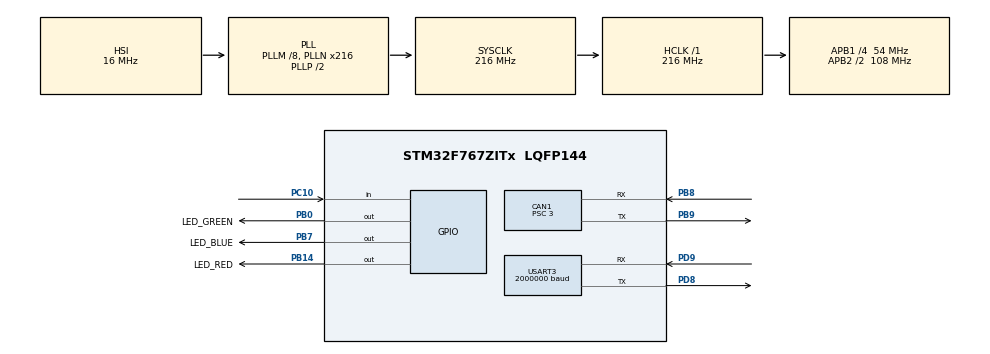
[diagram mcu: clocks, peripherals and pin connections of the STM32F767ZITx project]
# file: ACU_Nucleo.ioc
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CAN1.AWUM=ENABLE
CAN1.BS1=CAN_BS1_15TQ
CAN1.BS2=CAN_BS2_2TQ
CAN1.CalculateTimeQuantum=55.55555555555556
CAN1.NART=ENABLE
CAN1.Prescaler=3
Mcu.Family=STM32F7
Mcu.Name=STM32F767ZITx
Mcu.Package=LQFP144
NVIC.CAN1_RX0_IRQn=true\:0\:0\:false\:true\:true\:3\:true\:true
NVIC.CAN1_RX1_IRQn=true\:0\:0\:false\:true\:true\:2\:true\:true
NVIC.CAN1_SCE_IRQn=true\:0\:0\:false\:true\:true\:1\:true\:true
NVIC.CAN1_TX_IRQn=true\:0\:0\:false\:true\:true\:4\:true\:true
NVIC.PriorityGroup=NVIC_PRIORITYGROUP_4
NVIC.TIM2_IRQn=true\:0\:0\:false\:true\:true\:5\:true\:true
NVIC.USART3_IRQn=true\:0\:0\:false\:true\:true\:6\:true\:true
PB0.GPIO_Label=LED_GREEN
PB0.Signal=GPIO_Output
PB14.GPIO_Label=LED_RED
PB14.Signal=GPIO_Output
PB7.GPIO_Label=LED_BLUE
PB7.Signal=GPIO_Output
PB8.Mode=Master
PB8.Signal=CAN1_RX
PB9.Mode=Master
PB9.Signal=CAN1_TX
PC10.Signal=GPIO_Input
PD8.Mode=Asynchronous
PD8.Signal=USART3_TX
PD9.Mode=Asynchronous
PD9.Signal=USART3_RX
ProjectManager.HeapSize=0x200
ProjectManager.StackSize=0x400
ProjectManager.TargetToolchain=STM32CubeIDE
RCC.AHBFreq_Value=216000000
RCC.APB1CLKDivider=RCC_HCLK_DIV4
RCC.APB1Freq_Value=54000000
RCC.APB1TimFreq_Value=108000000
RCC.APB2CLKDivider=RCC_HCLK_DIV2
RCC.APB2Freq_Value=108000000
RCC.APB2TimFreq_Value=216000000
RCC.CortexFreq_Value=216000000
RCC.HCLKFreq_Value=216000000
RCC.HSE_VALUE=25000000
RCC.HSI_VALUE=16000000
RCC.LSE_VALUE=32768
RCC.PLLM=8
RCC.PLLN=216
RCC.SYSCLKFreq_VALUE=216000000
RCC.SYSCLKSource=RCC_SYSCLKSOURCE_PLLCLK
RCC.USBFreq_Value=216000000
RCC.VCOOutputFreq_Value=432000000
TIM2.Period=1000
TIM2.Prescaler=108
USART3.BaudRate=2000000
USART3.VirtualMode-Asynchronous=VM_ASYNC
VP_TIM2_VS_ClockSourceINT.Mode=Internal
board=custom

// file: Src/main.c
/* USER CODE BEGIN Header */
/**
  ******************************************************************************
  * @file           : main.c
  * @brief          : Main program body
  ******************************************************************************
  * @attention
  *
  * <h2><center>&copy; Copyright (c) 2019 STMicroelectronics.
  * All rights reserved.</center></h2>
  *
  * This software component is licensed by ST under BSD 3-Clause license,
  * the "License"; You may not use this file except in compliance with the
  * License. You may obtain a copy of the License at:
  *                        opensource.org/licenses/BSD-3-Clause
  *
  ******************************************************************************
  */
/* USER CODE END Header */

#include "main.h"

/* USER CODE BEGIN Includes */
#include "id.h"
#include "state.h"
#include "can.h"
#include "global_variables.h"
#include "string.h"
#include "stdio.h"

/* USER CODE END Includes */

CAN_HandleTypeDef hcan1;

TIM_HandleTypeDef htim2;

UART_HandleTypeDef huart3;

/* USER CODE BEGIN PV */

ID id;
uint8_t i_debug;
extern canStruct can1,can3;
extern fifoPriority fifoPriority_t;

CAN_FilterTypeDef sFilter;

char txt[100];

long int counter = 0;
/* USER CODE END PV */

void SystemClock_Config(void);
static void MX_GPIO_Init(void);
static void MX_CAN1_Init(void);
static void MX_USART3_UART_Init(void);
static void MX_TIM2_Init(void);
static void MX_NVIC_Init(void);

int main(void)
{

  /* MCU Configuration--------------------------------------------------------*/

  /* Reset of all peripherals, Initializes the Flash interface and the Systick. */
  HAL_Init();

  /* Configure the system clock */
  SystemClock_Config();

  /* Initialize all configured peripherals */
  MX_GPIO_Init();
  MX_CAN1_Init();
  MX_USART3_UART_Init();
  MX_TIM2_Init();

  /* Initialize interrupts */
  MX_NVIC_Init();
  /* USER CODE BEGIN 2 */

  HAL_TIM_Base_Start_IT(&htim2);

  can1.rx0_interrupt = CAN1_RX0_IRQn;
  can1.tx_interrupt = CAN1_TX_IRQn;
  can1.hcan = &hcan1;

  can_init();
  ID_init(&id);

  HAL_UART_Receive_IT(&huart3,(uint8_t*) &debug_rx[debug_rx_count], 1); //activate rx interrupt for debug

  current_state = STATE_INIT;

  /* USER CODE END 2 */

  /* Infinite loop */
  while (1)
  {

    /* USER CODE BEGIN 3 */

	  can1.dataTx[0] = 0;
	  can1.dataTx[1] = 0;
	  can1.dataTx[2] = 0;
	  can1.dataTx[3] = 0;
	  can1.dataTx[4] = counter >> 24;
	  can1.dataTx[5] = counter >> 16;
	  can1.dataTx[6] = counter >> 8;
	  can1.dataTx[7] = counter % 256;

	  can1.tx_id = 0xA0;

	  //CAN_Send(&can1, normalPriority);
	  //HAL_Delay(500);

	  //counter ++;

	  if(current_state == STATE_INIT){
		  init();
	  }else if(current_state == STATE_IDLE){
		  idle();
	  }else if(current_state == STATE_CALIB){
		  calib();
	  }else if(current_state == STATE_SETUP){
		  setup();
	  }else if(current_state == STATE_RUN){
		  run();
	  }
  }
  /* USER CODE END 3 */
}

void SystemClock_Config(void)
{
  RCC_OscInitTypeDef RCC_OscInitStruct = {0};
  RCC_ClkInitTypeDef RCC_ClkInitStruct = {0};
  RCC_PeriphCLKInitTypeDef PeriphClkInitStruct = {0};

  /** Configure the main internal regulator output voltage
  */
  __HAL_RCC_PWR_CLK_ENABLE();
  __HAL_PWR_VOLTAGESCALING_CONFIG(PWR_REGULATOR_VOLTAGE_SCALE1);
  /** Initializes the CPU, AHB and APB busses clocks
  */
  RCC_OscInitStruct.OscillatorType = RCC_OSCILLATORTYPE_HSI;
  RCC_OscInitStruct.HSIState = RCC_HSI_ON;
  RCC_OscInitStruct.HSICalibrationValue = RCC_HSICALIBRATION_DEFAULT;
  RCC_OscInitStruct.PLL.PLLState = RCC_PLL_ON;
  RCC_OscInitStruct.PLL.PLLSource = RCC_PLLSOURCE_HSI;
  RCC_OscInitStruct.PLL.PLLM = 8;
  RCC_OscInitStruct.PLL.PLLN = 216;
  RCC_OscInitStruct.PLL.PLLP = RCC_PLLP_DIV2;
  RCC_OscInitStruct.PLL.PLLQ = 2;
  if (HAL_RCC_OscConfig(&RCC_OscInitStruct) != HAL_OK)
  {
    Error_Handler();
  }
  /** Activate the Over-Drive mode
  */
  if (HAL_PWREx_EnableOverDrive() != HAL_OK)
  {
    Error_Handler();
  }
  /** Initializes the CPU, AHB and APB busses clocks
  */
  RCC_ClkInitStruct.ClockType = RCC_CLOCKTYPE_HCLK|RCC_CLOCKTYPE_SYSCLK
                              |RCC_CLOCKTYPE_PCLK1|RCC_CLOCKTYPE_PCLK2;
  RCC_ClkInitStruct.SYSCLKSource = RCC_SYSCLKSOURCE_PLLCLK;
  RCC_ClkInitStruct.AHBCLKDivider = RCC_SYSCLK_DIV1;
  RCC_ClkInitStruct.APB1CLKDivider = RCC_HCLK_DIV4;
  RCC_ClkInitStruct.APB2CLKDivider = RCC_HCLK_DIV2;

  if (HAL_RCC_ClockConfig(&RCC_ClkInitStruct, FLASH_LATENCY_7) != HAL_OK)
  {
    Error_Handler();
  }
  PeriphClkInitStruct.PeriphClockSelection = RCC_PERIPHCLK_USART3;
  PeriphClkInitStruct.Usart3ClockSelection = RCC_USART3CLKSOURCE_PCLK1;
  if (HAL_RCCEx_PeriphCLKConfig(&PeriphClkInitStruct) != HAL_OK)
  {
    Error_Handler();
  }
}

/**
  * @brief NVIC Configuration.
  * @retval None
  */
static void MX_NVIC_Init(void)
{
  /* CAN1_SCE_IRQn interrupt configuration */
  HAL_NVIC_SetPriority(CAN1_SCE_IRQn, 0, 0);
  HAL_NVIC_EnableIRQ(CAN1_SCE_IRQn);
  /* CAN1_RX1_IRQn interrupt configuration */
  HAL_NVIC_SetPriority(CAN1_RX1_IRQn, 0, 0);
  HAL_NVIC_EnableIRQ(CAN1_RX1_IRQn);
  /* CAN1_RX0_IRQn interrupt configuration */
  HAL_NVIC_SetPriority(CAN1_RX0_IRQn, 0, 0);
  HAL_NVIC_EnableIRQ(CAN1_RX0_IRQn);
  /* CAN1_TX_IRQn interrupt configuration */
  HAL_NVIC_SetPriority(CAN1_TX_IRQn, 0, 0);
  HAL_NVIC_EnableIRQ(CAN1_TX_IRQn);
  /* TIM2_IRQn interrupt configuration */
  HAL_NVIC_SetPriority(TIM2_IRQn, 0, 0);
  HAL_NVIC_EnableIRQ(TIM2_IRQn);
  /* USART3_IRQn interrupt configuration */
  HAL_NVIC_SetPriority(USART3_IRQn, 0, 0);
  HAL_NVIC_EnableIRQ(USART3_IRQn);
}

static void MX_CAN1_Init(void)
{

  hcan1.Instance = CAN1;
  hcan1.Init.Prescaler = 3;
  hcan1.Init.Mode = CAN_MODE_NORMAL;
  hcan1.Init.SyncJumpWidth = CAN_SJW_1TQ;
  hcan1.Init.TimeSeg1 = CAN_BS1_15TQ;
  hcan1.Init.TimeSeg2 = CAN_BS2_2TQ;
  hcan1.Init.TimeTriggeredMode = DISABLE;
  hcan1.Init.AutoBusOff = DISABLE;
  hcan1.Init.AutoWakeUp = ENABLE;
  hcan1.Init.AutoRetransmission = ENABLE;
  hcan1.Init.ReceiveFifoLocked = DISABLE;
  hcan1.Init.TransmitFifoPriority = DISABLE;
  if (HAL_CAN_Init(&hcan1) != HAL_OK)
  {
    Error_Handler();
  }

}

static void MX_TIM2_Init(void)
{

  TIM_ClockConfigTypeDef sClockSourceConfig = {0};
  TIM_MasterConfigTypeDef sMasterConfig = {0};

  htim2.Instance = TIM2;
  htim2.Init.Prescaler = 108;
  htim2.Init.CounterMode = TIM_COUNTERMODE_UP;
  htim2.Init.Period = 1000;
  htim2.Init.ClockDivision = TIM_CLOCKDIVISION_DIV1;
  htim2.Init.AutoReloadPreload = TIM_AUTORELOAD_PRELOAD_DISABLE;
  if (HAL_TIM_Base_Init(&htim2) != HAL_OK)
  {
    Error_Handler();
  }
  sClockSourceConfig.ClockSource = TIM_CLOCKSOURCE_INTERNAL;
  if (HAL_TIM_ConfigClockSource(&htim2, &sClockSourceConfig) != HAL_OK)
  {
    Error_Handler();
  }
  sMasterConfig.MasterOutputTrigger = TIM_TRGO_RESET;
  sMasterConfig.MasterSlaveMode = TIM_MASTERSLAVEMODE_DISABLE;
  if (HAL_TIMEx_MasterConfigSynchronization(&htim2, &sMasterConfig) != HAL_OK)
  {
    Error_Handler();
  }

}

static void MX_USART3_UART_Init(void)
{

  huart3.Instance = USART3;
  huart3.Init.BaudRate = 2000000;
  huart3.Init.WordLength = UART_WORDLENGTH_8B;
  huart3.Init.StopBits = UART_STOPBITS_1;
  huart3.Init.Parity = UART_PARITY_NONE;
  huart3.Init.Mode = UART_MODE_TX_RX;
  huart3.Init.HwFlowCtl = UART_HWCONTROL_NONE;
  huart3.Init.OverSampling = UART_OVERSAMPLING_16;
  huart3.Init.OneBitSampling = UART_ONE_BIT_SAMPLE_DISABLE;
  huart3.AdvancedInit.AdvFeatureInit = UART_ADVFEATURE_NO_INIT;
  if (HAL_UART_Init(&huart3) != HAL_OK)
  {
    Error_Handler();
  }

}

static void MX_GPIO_Init(void)
{
  GPIO_InitTypeDef GPIO_InitStruct = {0};

  /* GPIO Ports Clock Enable */
  __HAL_RCC_GPIOB_CLK_ENABLE();
  __HAL_RCC_GPIOD_CLK_ENABLE();
  __HAL_RCC_GPIOC_CLK_ENABLE();

  /*Configure GPIO pin Output Level */
  HAL_GPIO_WritePin(GPIOB, LED_GREEN_Pin|LED_RED_Pin|LED_BLUE_Pin, GPIO_PIN_RESET);

  /*Configure GPIO pins : LED_GREEN_Pin LED_RED_Pin LED_BLUE_Pin */
  GPIO_InitStruct.Pin = LED_GREEN_Pin|LED_RED_Pin|LED_BLUE_Pin;
  GPIO_InitStruct.Mode = GPIO_MODE_OUTPUT_PP;
  GPIO_InitStruct.Pull = GPIO_NOPULL;
  GPIO_InitStruct.Speed = GPIO_SPEED_FREQ_LOW;
  HAL_GPIO_Init(GPIOB, &GPIO_InitStruct);

  /*Configure GPIO pin : PC10 */
  GPIO_InitStruct.Pin = GPIO_PIN_10;
  GPIO_InitStruct.Mode = GPIO_MODE_INPUT;
  GPIO_InitStruct.Pull = GPIO_NOPULL;
  HAL_GPIO_Init(GPIOC, &GPIO_InitStruct);

}

/* USER CODE BEGIN 4 */
void HAL_TIM_PeriodElapsedCallback(TIM_HandleTypeDef *htim){
	if(htim == &htim2){
		count_ms += 1;
		if(count_ms == 100){
			count_ms = 0;
			count_dec++;
			//--- put your counter here (count each 0,1 sec) ---//
			count_inverter++;
			count_imu++;
			if(count_inverter == 10){
				//TODO: implementare funzione
			}else if(count_inverter == 11){
				count_inverter = 10;
			}
			if(count_imu == 10){
				// imu non presente //
				imu_connected = 0; //imu not connected
				HAL_UART_Transmit(&huart3, (uint8_t*)"IMU non presente\r\n", strlen("IMU non presente\r\n"), 10);
			}else if(count_imu == 11){
				count_imu = 10;
			}
			if(count_dec == 10){
				count_dec = 0;
				count_sec++;
				if(count_sec == 60){
					count_sec = 0;
					count_min++;
					if(count_min == 60){
						count_min = 0;
						count_hour++;
					}
				}
			}
		}
	}
}

void HAL_CAN_RxFifo0MsgPendingCallback(CAN_HandleTypeDef *hcan){
	/*sprintf(txt, "%d\r\n", HAL_CAN_GetRxFifoFillLevel(&hcan1, CAN_RX_FIFO0));
	HAL_UART_Transmit(&huart3, (uint8_t*)txt, strlen(txt), 10);*/

	HAL_GPIO_TogglePin(LED_BLUE_GPIO_Port, LED_BLUE_Pin);
	if (hcan == &hcan1){
		//HAL_UART_Transmit(&huart3, (uint8_t*)"rx on FIFO0\r\n", strlen("rx on FIFO0\r\n"), 10);
		if (HAL_CAN_GetRxFifoFillLevel(&hcan1, CAN_RX_FIFO0) != 0){
			CAN_RxHeaderTypeDef header;
			HAL_CAN_GetRxMessage(&hcan1, CAN_RX_FIFO0, &header, can1.dataRx);
			can1.rx_id = header.StdId;
			can1.rx_size = header.DLC;
			fifoRxDataCAN_push(&can1);
			//sprintf(txt,"Size: %d\r\n",can1.rx_size);
			//sprintf(txt,"DATA: %d %d %d %d %d %d %d %d\r\n",can1.dataRx[0],can1.dataRx[1],can1.dataRx[2],can1.dataRx[3],can1.dataRx[4],can1.dataRx[5],can1.dataRx[6],can1.dataRx[7]);
			//HAL_UART_Transmit(&huart3, (uint8_t*)txt, strlen(txt), 100);
			//HAL_UART_Transmit(&huart3, (uint8_t*)"ciao2\r\n", strlen("ciao2\r\n"), 10);

		}
	}
}
void HAL_CAN_RxFifo1MsgPendingCallback(CAN_HandleTypeDef *hcan){
	if (hcan == &hcan1){
		HAL_UART_Transmit(&huart3, (uint8_t*)"rx on FIFO1\r\n", strlen("rx on FIFO1\r\n"), 10);
	}
}

void HAL_CAN_RxFifo0FullCallback(CAN_HandleTypeDef *hcan){
	if (hcan == &hcan1){
		HAL_UART_Transmit(&huart3, (uint8_t*)"FIFO0 FULL\r\n", strlen("FIFO0 FULL\r\n"), 10);
	}
}
void HAL_CAN_RxFifo1FullCallback(CAN_HandleTypeDef *hcan){
	if (hcan == &hcan1){
		HAL_UART_Transmit(&huart3, (uint8_t*)"FIFO1 FULL\r\n", strlen("FIFO1 FULL\r\n"), 10);
	}
}

void HAL_CAN_TxMailbox0CompleteCallback(CAN_HandleTypeDef *hcan){
	sprintf(txt,"mb0: %d\r\n", (int)can1.idBck);
	HAL_UART_Transmit(&huart3,(uint8_t*)(txt), strlen(txt), 10);
	HAL_GPIO_TogglePin(LED_GREEN_GPIO_Port, LED_GREEN_Pin);
	if(hcan == &hcan1){
		if(fifoTxDataCAN_high_pop(&can1)){
			if(CAN_Send_IT(&can1) == 0){
				//TODO: implementare errore
			}else{
				HAL_UART_Transmit(&huart3,(uint8_t*)("high\r\n"), strlen("high\r\n"), 10);
			}
		}else if(fifoTxDataCAN_normal_pop(&can1)){
			//HAL_UART_Transmit(&huart3,(uint8_t*)("Prendo dalla fifo\r\n"), strlen("Prendo dalla fifo\r\n"), 10);
			if(CAN_Send_IT(&can1) == 0){
				//TODO: implementare errore
			}
		}else{
			//HAL_UART_Transmit(&huart3,(uint8_t*)("Fifo vuota\r\n"), strlen("Fifo vuota\r\n"), 10);
		}
	}/*else{
	HAL_UART_Transmit(&huart3,(uint8_t*)("Messaggio trasmesso\r\n"), strlen("Messaggio trasmesso\r\n"), 10);
		//HAL_GPIO_TogglePin(USER_LED_4_GPIO_Port, USER_LED_4_Pin);
		fifoDataType fifodata;
		if(fifoTxDataCAN3_high_pop(&fifoCAN3, &fifodata)){
			for(int i = 0; i < 8; i++){
				can3.dataTx[i] = fifodata.data[i];
			}
			if(CAN_Send_IT(&can3, fifodata.id) == 0){
				//TODO: implementare errore
			}
		}else if(fifoTxDataCAN3_normal_pop(&fifoCAN3, &fifodata)){
			HAL_UART_Transmit(&huart3,(uint8_t*)("Prendo dalla fifo\r\n"), strlen("Prendo dalla fifo\r\n"), 10);
			for(int i = 0; i < 8; i++){
				can3.dataTx[i] = fifodata.data[i];
			}
			if(CAN_Send_IT(&can3, fifodata.id) == 0){
				//TODO: implementare errore
			}
		}else{
			//TODO: riattivare interrupt
			HAL_UART_Transmit(&huart3,(uint8_t*)("Fifo vuota\r\n"), strlen("Fifo vuota\r\n"), 10);
		}*/
	//}
}
void HAL_CAN_TxMailbox1CompleteCallback(CAN_HandleTypeDef *hcan){
	sprintf(txt,"mb1: %d %d\r\n" ,can1.fifo.txTailNormal, can1.fifo.txHeadNormal);
	HAL_UART_Transmit(&huart3,(uint8_t*)(txt), strlen(txt), 10);
	HAL_GPIO_TogglePin(LED_GREEN_GPIO_Port, LED_GREEN_Pin);
	if(hcan == &hcan1){
		if(fifoTxDataCAN_high_pop(&can1)){
			if(CAN_Send_IT(&can1) == 0){
				//TODO: implementare errore
			}else{
				HAL_UART_Transmit(&huart3,(uint8_t*)("high\r\n"), strlen("high\r\n"), 10);
			}
		}else if(fifoTxDataCAN_normal_pop(&can1)){
			//HAL_UART_Transmit(&huart3,(uint8_t*)("Prendo dalla fifo\r\n"), strlen("Prendo dalla fifo\r\n"), 10);
			if(CAN_Send_IT(&can1) == 0){
				//TODO: implementare errore
			}
		}else{
			//HAL_UART_Transmit(&huart3,(uint8_t*)("Fifo vuota\r\n"), strlen("Fifo vuota\r\n"), 10);
		}
	}
}
void HAL_CAN_TxMailbox2CompleteCallback(CAN_HandleTypeDef *hcan){
	sprintf(txt,"mb2: %d %d\r\n", can1.fifo.txTailNormal, can1.fifo.txHeadNormal);
	HAL_UART_Transmit(&huart3,(uint8_t*)(txt), strlen(txt), 10);
	HAL_GPIO_TogglePin(LED_GREEN_GPIO_Port, LED_GREEN_Pin);
	if(hcan == &hcan1){
		if(fifoTxDataCAN_high_pop(&can1)){
			if(CAN_Send_IT(&can1) == 0){
				//TODO: implementare errore
			}else{
				HAL_UART_Transmit(&huart3,(uint8_t*)("high\r\n"), strlen("high\r\n"), 10);
			}
		}else if(fifoTxDataCAN_normal_pop(&can1)){
			//HAL_UART_Transmit(&huart3,(uint8_t*)("Prendo dalla fifo\r\n"), strlen("Prendo dalla fifo\r\n"), 10);
			if(CAN_Send_IT(&can1) == 0){
				//TODO: implementare errore
			}
		}else{
			//HAL_UART_Transmit(&huart3,(uint8_t*)("Fifo vuota\r\n"), strlen("Fifo vuota\r\n"), 10);
		}
	}
}
void HAL_CAN_ErrorCallback(CAN_HandleTypeDef *hcan){
	sprintf(txt,"--- Errore ---: %d\r\n",(int)hcan->ErrorCode);
	HAL_UART_Transmit(&huart3,(uint8_t*)(txt), strlen(txt), 10);
	if(hcan == &hcan1){
		CAN_Send_Bck(&can1);
	}
}

void HAL_UART_RxCpltCallback(UART_HandleTypeDef *huart){
	if(huart == &huart3){
		if((debug_rx[debug_rx_count] == '\r') | (debug_rx[debug_rx_count] == '\n')){
			debug_msg_arrived = 1; //set flag
			debug_rx[debug_rx_count] = 0; //set end of the string
			debug_rx_count = 0; //reset counter
		}else{
			if(debug_rx_count == MAX_DEBUG_RX_L){
				//overflow
				debug_rx_count = 0; //reset counter for overflow
			}else{
				HAL_UART_Transmit(&huart3, (uint8_t*)&debug_rx[debug_rx_count], 1, 10); //retransmit char
				debug_rx_count++;
			}
		}
		HAL_UART_Receive_IT(&huart3,(uint8_t*) &debug_rx[debug_rx_count], 1); //activate rx interrupt for debug
	}
}

/* USER CODE END 4 */

void Error_Handler(void)
{
  /* USER CODE BEGIN Error_Handler_Debug */

  /* User can add his own implementation to report the HAL error return state */

	//HAL_GPIO_TogglePin(USER_LED_1_GPIO_Port, USER_LED_1_Pin);

	for(int i = 0; i < 10; i++){
		HAL_GPIO_TogglePin(LED_BLUE_GPIO_Port, LED_BLUE_Pin);
		HAL_GPIO_TogglePin(LED_RED_GPIO_Port, LED_RED_Pin);
		HAL_GPIO_TogglePin(LED_GREEN_GPIO_Port, LED_GREEN_Pin);
		HAL_Delay(100);
	}

  /* USER CODE END Error_Handler_Debug */
}

/************************ (C) COPYRIGHT STMicroelectronics *****END OF FILE****/
